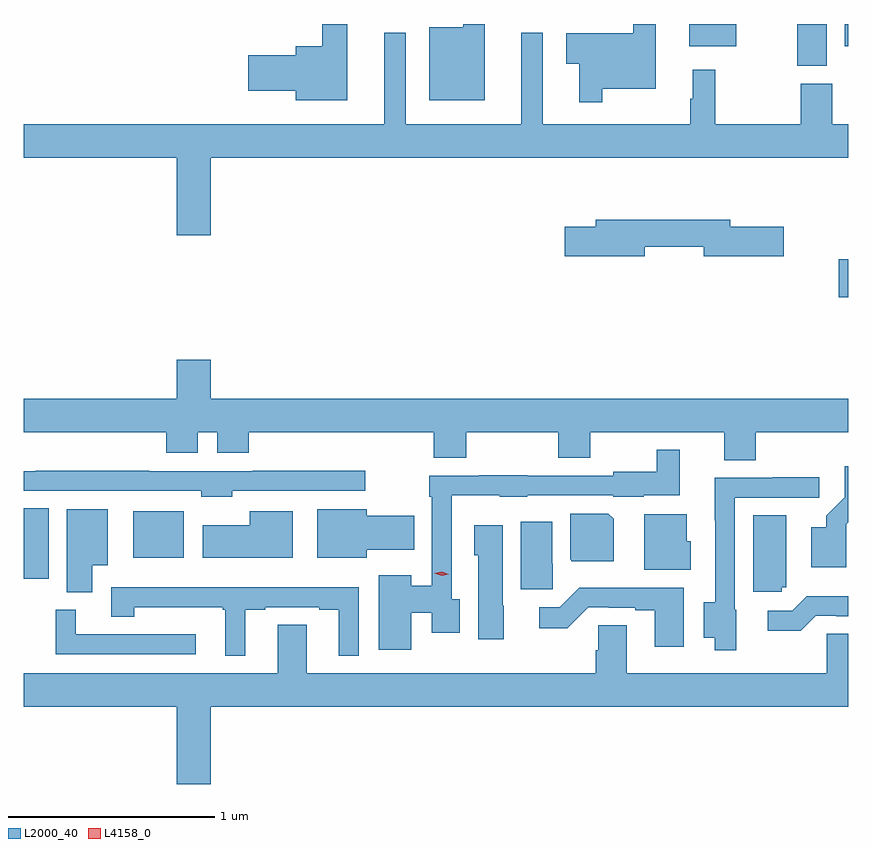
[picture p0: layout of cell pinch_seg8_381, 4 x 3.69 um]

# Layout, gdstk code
import gdstk
lib = gdstk.Library(unit=1e-6, precision=1e-09)
def R(c, l, rs):  # rectangles x0, y0, x1, y1
    for r in rs: c.add(gdstk.rectangle(r[:2], r[2:], *l))
def P(c, l, *ps):  # polygons
    for p in ps: c.add(gdstk.Polygon(p, *l))
L2000_40 = (2000, 40)
L4158_0 = (4158, 0)

pinch_seg8_381 = lib.new_cell('pinch_seg8_381')
R(pinch_seg8_381, L2000_40, [(392.037,1093.145,392.158,1093.487), (392.567,1093.247,392.812,1093.474), (395.991,1094.513,396.037,1094.696), (395.791,1095.635,395.932,1095.838), (395.267,1095.731,395.494,1095.838), (396.02,1095.731,396.037,1095.838)])
P(pinch_seg8_381, L2000_40, [(394.843,1095.524),(395.104,1095.524),(395.104,1095.838),(394.995,1095.838),(394.995,1095.793),(394.67,1095.793),(394.67,1095.646),(394.733,1095.646),(394.733,1095.459),(394.843,1095.459)],
  [(393.607,1095.838),(393.486,1095.838),(393.486,1095.73),(393.356,1095.73),(393.356,1095.686),(393.126,1095.686),(393.126,1095.515),(393.356,1095.515),(393.356,1095.467),(393.607,1095.467)],
  [(394.273,1095.838),(394.169,1095.838),(394.169,1095.823),(394.004,1095.823),(394.004,1095.467),(394.273,1095.467)],
  [(396.037,1095.352),(395.961,1095.352),(395.961,1095.547),(395.806,1095.547),(395.806,1095.352),(395.392,1095.352),(395.392,1095.616),(395.282,1095.616),(395.282,1095.476),(395.271,1095.476),(395.271,1095.352),(394.555,1095.352),(394.555,1095.796),(394.451,1095.796),(394.451,1095.352),(393.889,1095.352),(393.889,1095.796),(393.785,1095.796),(393.785,1095.352),(392.037,1095.352),(392.037,1095.188),(392.78,1095.188),(392.78,1094.814),(392.944,1094.814),(392.944,1095.188),(396.037,1095.188)],
  [(395.05,1094.758),(395.336,1094.758),(395.336,1094.711),(395.725,1094.711),(395.725,1094.853),(395.464,1094.853),(395.464,1094.887),(394.811,1094.887),(394.811,1094.853),(394.662,1094.853),(394.662,1094.711),(395.05,1094.711)],
  [(395.588,1093.856),(396.037,1093.856),(396.037,1094.02),(392.944,1094.02),(392.944,1094.209),(392.78,1094.209),(392.78,1094.02),(392.037,1094.02),(392.037,1093.856),(392.729,1093.856),(392.729,1093.757),(392.881,1093.757),(392.881,1093.856),(392.975,1093.856),(392.975,1093.757),(393.128,1093.757),(393.128,1093.856),(394.025,1093.856),(394.025,1093.732),(394.185,1093.732),(394.185,1093.856),(394.63,1093.856),(394.63,1093.732),(394.785,1093.732),(394.785,1093.856),(395.435,1093.856),(395.435,1093.72),(395.588,1093.72)],
  [(393.916,1092.982),(394.017,1092.982),(394.017,1092.885),(394.153,1092.885),(394.153,1093.046),(394.113,1093.046),(394.113,1093.55),(394.347,1093.55),(394.347,1093.544),(394.479,1093.544),(394.479,1093.551),(394.896,1093.551),(394.896,1093.544),(395.046,1093.544),(395.046,1093.55),(395.219,1093.55),(395.219,1093.771),(395.109,1093.771),(395.109,1093.666),(394.896,1093.666),(394.896,1093.647),(394.479,1093.647),(394.479,1093.649),(394.247,1093.649),(394.247,1093.647),(394.005,1093.647),(394.005,1093.544),(394.017,1093.544),(394.017,1093.111),(393.916,1093.111),(393.916,1093.162),(393.758,1093.162),(393.758,1092.801),(393.916,1092.801)],
  [(396.027,1093.411),(396.037,1093.421),(396.037,1093.693),(396.021,1093.693),(396.021,1093.541),(395.93,1093.451),(395.93,1093.396),(395.858,1093.396),(395.858,1093.203),(396.027,1093.203)],
  [(393.048,1093.572),(393.694,1093.572),(393.694,1093.67),(393.148,1093.67),(393.148,1093.668),(392.645,1093.668),(392.645,1093.67),(392.095,1093.67),(392.095,1093.668),(392.037,1093.668),(392.037,1093.572),(392.898,1093.572),(392.898,1093.544),(393.048,1093.544)],
  [(395.494,1092.996),(395.487,1092.996),(395.487,1093.539),(395.896,1093.539),(395.896,1093.638),(395.671,1093.638),(395.671,1093.635),(395.39,1093.635),(395.39,1093.429),(395.391,1093.429),(395.391,1093.031),(395.336,1093.031),(395.336,1092.86),(395.39,1092.86),(395.39,1092.8),(395.494,1092.8)],
  [(392.368,1093.211),(392.443,1093.211),(392.443,1093.483),(392.246,1093.483),(392.246,1093.081),(392.368,1093.081)],
  [(393.7,1093.286),(393.931,1093.286),(393.931,1093.452),(393.7,1093.452),(393.7,1093.483),(393.461,1093.483),(393.461,1093.247),(393.7,1093.247)],
  [(393.343,1093.474),(393.134,1093.474),(393.134,1093.405),(392.904,1093.405),(392.904,1093.247),(393.343,1093.247)],
  [(394.9,1093.436),(394.874,1093.462),(394.688,1093.462),(394.688,1093.24),(394.696,1093.232),(394.9,1093.232)],
  [(395.272,1093.329),(395.254,1093.329),(395.254,1093.46),(395.048,1093.46),(395.048,1093.19),(395.272,1093.19)],
  [(395.715,1093.104),(395.737,1093.104),(395.737,1093.453),(395.576,1093.453),(395.576,1093.083),(395.715,1093.083)],
  [(394.604,1093.218),(394.6,1093.218),(394.6,1093.423),(394.448,1093.423),(394.448,1093.095),(394.604,1093.095)],
  [(394.366,1093.014),(394.36,1093.014),(394.36,1093.405),(394.223,1093.405),(394.223,1093.26),(394.241,1093.26),(394.241,1092.852),(394.366,1092.852)],
  [(393.112,1092.996),(393.208,1092.996),(393.208,1093.008),(393.47,1093.008),(393.47,1092.996),(393.566,1092.996),(393.566,1092.773),(393.663,1092.773),(393.663,1093.105),(392.46,1093.105),(392.46,1092.961),(392.573,1092.961),(392.573,1093.007),(393.003,1093.007),(393.003,1092.996),(393.014,1092.996),(393.014,1092.773),(393.112,1092.773)],
  [(395.239,1093.103),(394.733,1093.103),(394.638,1093.008),(394.539,1093.008),(394.539,1092.906),(394.674,1092.906),(394.776,1093.008),(394.876,1093.008),(394.876,1093.005),(395.003,1093.005),(395.003,1092.993),(395.099,1092.993),(395.099,1092.816),(395.239,1092.816)],
  [(395.88,1092.966),(395.98,1092.966),(395.98,1092.963),(396.037,1092.963),(396.037,1093.061),(395.837,1093.061),(395.766,1092.99),(395.646,1092.99),(395.646,1092.893),(395.807,1092.893)],
  [(392.872,1092.876),(392.29,1092.876),(392.29,1092.996),(392.192,1092.996),(392.192,1092.78),(392.872,1092.78)],
  [(392.944,1092.524),(396.037,1092.524),(396.037,1092.878),(395.934,1092.878),(395.934,1092.688),(394.963,1092.688),(394.963,1092.92),(394.824,1092.92),(394.824,1092.798),(394.811,1092.798),(394.811,1092.688),(393.409,1092.688),(393.409,1092.923),(393.269,1092.923),(393.269,1092.688),(392.037,1092.688),(392.037,1092.524),(392.78,1092.524),(392.78,1092.15),(392.944,1092.15)])
P(pinch_seg8_381, L4158_0, [(394.064,1093.161),(394.028,1093.173),(394.028,1093.173),(394.028,1093.173),(394.065,1093.181),(394.1,1093.168),(394.1,1093.168),(394.1,1093.168)])

lib.write_gds('pinch_seg8_381.gds')
